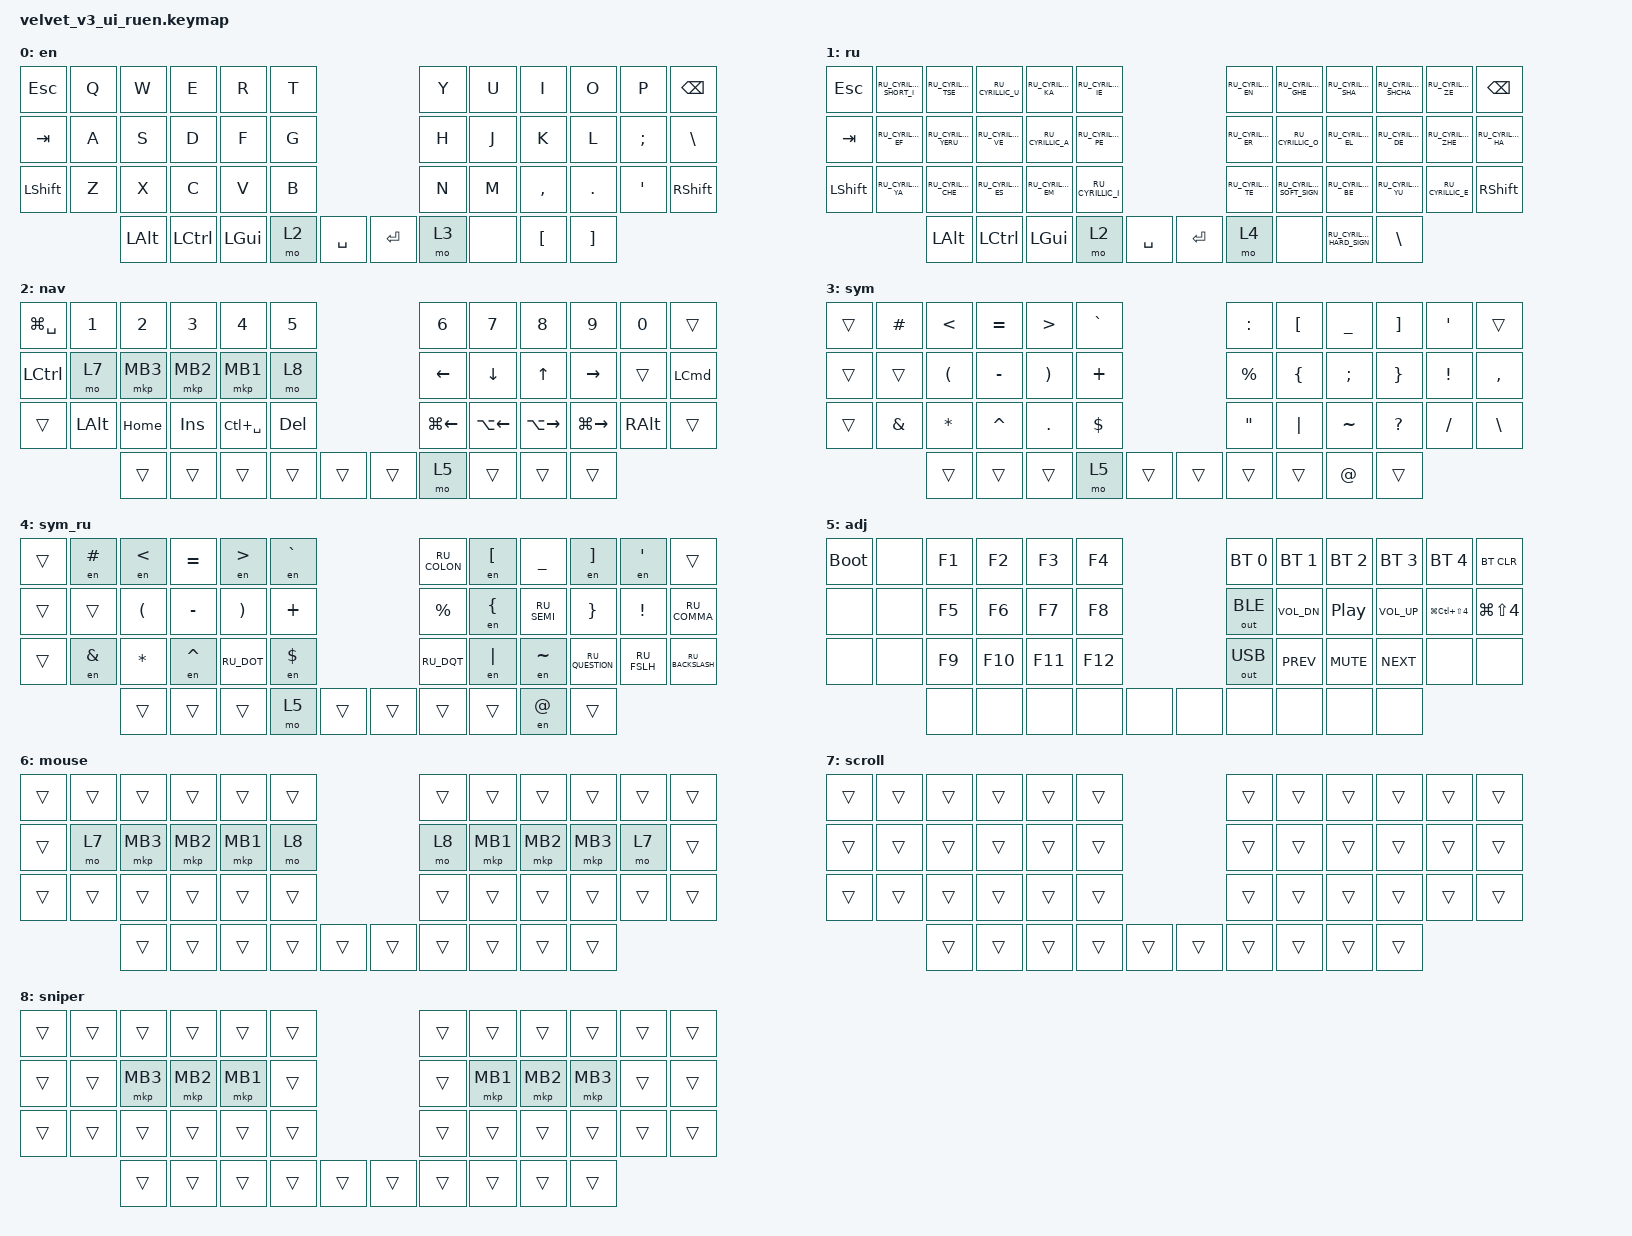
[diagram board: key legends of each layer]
#include "keys_ru.h"
#include <dt-bindings/zmk/input_transform.h>
#include <input/processors.dtsi>
#include <zephyr/dt-bindings/input/input-event-codes.h>
#include <behaviors.dtsi>
#include <dt-bindings/zmk/bt.h>
#include <dt-bindings/zmk/keys.h>
#include <dt-bindings/zmk/outputs.h>
#include <dt-bindings/zmk/pointing.h>

/ {
    combos {
        compatible = "zmk,combos";

        cmben {
            bindings = <&layer_en>;
            key-positions = <38 16>;
            layers = <1>;
        };

        cmbru {
            bindings = <&layer_ru>;
            key-positions = <16 38>;
            layers = <0>;
        };
    };

    macros {
        to_ru: to_ru {
            compatible = "zmk,behavior-macro";
            #binding-cells = <0>;
            bindings = <&kp LS(LC(N2))>;
            label = "TO_RU";
        };

        to_en: to_en {
            compatible = "zmk,behavior-macro";
            #binding-cells = <0>;
            bindings = <&kp LS(LC(N1))>;
            label = "TO_EN";
        };

        layer_en: layer_en {
            compatible = "zmk,behavior-macro";
            #binding-cells = <0>;
            bindings = <&to 0 &to_en>;
            label = "LAYER_EN";
        };

        layer_ru: layer_ru {
            compatible = "zmk,behavior-macro";
            #binding-cells = <0>;
            bindings = <&to 1 &to_ru>;
            label = "LAYER_RU";
        };

        en: en {
            compatible = "zmk,behavior-macro-one-param";
            #binding-cells = <1>;
            bindings =
                <&to_en &macro_param_1to1 &kp MACRO_PLACEHOLDER>,
                <&macro_wait_time 10>,
                <&to_ru>,
                <&macro_wait_time 10>;

            label = "EN";
        };
    };

    keymap {
        compatible = "zmk,keymap";

        en {
            bindings = <
&kp ESC    &kp Q  &kp W     &kp E      &kp R     &kp T                        &kp Y  &kp U  &kp I      &kp O     &kp P     &kp BSPC
&kp TAB    &kp A  &kp S     &kp D      &kp F     &kp G                        &kp H  &kp J  &kp K      &kp L     &kp SEMI  &kp BSLH
&kp LSHFT  &kp Z  &kp X     &kp C      &kp V     &kp B                        &kp N  &kp M  &kp COMMA  &kp DOT   &kp SQT   &kp RSHFT
                  &kp LALT  &kp LCTRL  &kp LGUI  &mo 2  &kp SPACE    &kp RET  &mo 3  &none  &kp LBKT   &kp RBKT
            >;

            display-name = "en";
        };

        ru {
            display-name = "ru";
            bindings = <
&kp ESC    &kp RU_CYRILLIC_SHORT_I  &kp RU_CYRILLIC_TSE   &kp RU_CYRILLIC_U   &kp RU_CYRILLIC_KA  &kp RU_CYRILLIC_IE                        &kp RU_CYRILLIC_EN  &kp RU_CYRILLIC_GHE        &kp RU_CYRILLIC_SHA        &kp RU_CYRILLIC_SHCHA  &kp RU_CYRILLIC_ZE   &kp BSPC
&kp TAB    &kp RU_CYRILLIC_EF       &kp RU_CYRILLIC_YERU  &kp RU_CYRILLIC_VE  &kp RU_CYRILLIC_A   &kp RU_CYRILLIC_PE                        &kp RU_CYRILLIC_ER  &kp RU_CYRILLIC_O          &kp RU_CYRILLIC_EL         &kp RU_CYRILLIC_DE     &kp RU_CYRILLIC_ZHE  &kp RU_CYRILLIC_HA
&kp LSHFT  &kp RU_CYRILLIC_YA       &kp RU_CYRILLIC_CHE   &kp RU_CYRILLIC_ES  &kp RU_CYRILLIC_EM  &kp RU_CYRILLIC_I                         &kp RU_CYRILLIC_TE  &kp RU_CYRILLIC_SOFT_SIGN  &kp RU_CYRILLIC_BE         &kp RU_CYRILLIC_YU     &kp RU_CYRILLIC_E    &kp RSHFT
                                    &kp LALT              &kp LCTRL           &kp LGUI            &mo 2               &kp SPACE    &kp RET  &mo 4               &none                      &kp RU_CYRILLIC_HARD_SIGN  &kp BSLH
            >;
        };

        nav {
            bindings = <
&kp LG(SPACE)  &kp N1        &kp N2    &kp N3    &kp N4         &kp N5                     &kp N6        &kp N7        &kp N8         &kp N9         &kp N0    &trans
&kp LCTRL      &mo 7         &mkp MB3  &mkp MB2  &mkp MB1       &mo 8                      &kp LEFT      &kp DOWN      &kp UP         &kp RIGHT      &trans    &kp LCMD
&trans         &kp LEFT_ALT  &kp HOME  &kp INS   &kp LC(SPACE)  &kp DEL                    &kp LG(LEFT)  &kp LA(LEFT)  &kp LA(RIGHT)  &kp LG(RIGHT)  &kp RALT  &trans
                             &trans    &trans    &trans         &trans   &trans    &trans  &mo 5         &trans        &trans         &trans
            >;

            display-name = "nav";
        };

        sym {
            bindings = <
&trans  &kp HASH  &kp LT    &kp EQUAL  &kp GT    &kp GRAVE                    &kp COLON  &kp LBKT  &kp UNDER  &kp RBKT      &kp SQT   &trans
&trans  &trans    &kp LPAR  &kp MINUS  &kp RPAR  &kp PLUS                     &kp PRCNT  &kp LBRC  &kp SEMI   &kp RBRC      &kp EXCL  &kp COMMA
&trans  &kp AMPS  &kp STAR  &kp CARET  &kp DOT   &kp DLLR                     &kp DQT    &kp PIPE  &kp TILDE  &kp QUESTION  &kp FSLH  &kp BSLH
                  &trans    &trans     &trans    &mo 5      &trans    &trans  &trans     &trans    &kp AT     &trans
            >;

            display-name = "sym";
        };

        sym_ru {
            display-name = "sym_ru";
            bindings = <
&trans  &en HASH  &en LT    &kp EQUAL  &en GT      &en GRAVE                    &kp RU_COLON  &en LBKT  &kp UNDER    &en RBKT         &en SQT      &trans
&trans  &trans    &kp LPAR  &kp MINUS  &kp RPAR    &kp PLUS                     &kp PRCNT     &en LBRC  &kp RU_SEMI  &kp RBRC         &kp EXCL     &kp RU_COMMA
&trans  &en AMPS  &kp STAR  &en CARET  &kp RU_DOT  &en DLLR                     &kp RU_DQT    &en PIPE  &en TILDE    &kp RU_QUESTION  &kp RU_FSLH  &kp RU_BACKSLASH
                  &trans    &trans     &trans      &mo 5      &trans    &trans  &trans        &trans    &en AT       &trans
            >;
        };

        adj {
            bindings = <
&bootloader  &none  &kp F1  &kp F2   &kp F3   &kp F4                   &bt BT_SEL 0  &bt BT_SEL 1  &bt BT_SEL 2      &bt BT_SEL 3  &bt BT_SEL 4              &bt BT_CLR
&none        &none  &kp F5  &kp F6   &kp F7   &kp F8                   &out OUT_BLE  &kp C_VOL_DN  &kp C_PLAY_PAUSE  &kp C_VOL_UP  &kp LG(LC(LS(NUMBER_4)))  &kp LG(LS(NUMBER_4))
&none        &none  &kp F9  &kp F10  &kp F11  &kp F12                  &out OUT_USB  &kp K_PREV    &kp K_MUTE        &kp K_NEXT    &none                     &none
                    &none   &none    &none    &none    &none    &none  &none         &none         &none             &none
            >;

            display-name = "adj";
        };

        mouse {
            bindings = <
&trans  &trans  &trans    &trans    &trans    &trans                    &trans  &trans    &trans    &trans    &trans  &trans
&trans  &mo 7   &mkp MB3  &mkp MB2  &mkp MB1  &mo 8                     &mo 8   &mkp MB1  &mkp MB2  &mkp MB3  &mo 7   &trans
&trans  &trans  &trans    &trans    &trans    &trans                    &trans  &trans    &trans    &trans    &trans  &trans
                &trans    &trans    &trans    &trans  &trans    &trans  &trans  &trans    &trans    &trans
            >;
        };

        scroll {
            bindings = <
&trans  &trans  &trans  &trans  &trans  &trans                    &trans  &trans  &trans  &trans  &trans  &trans
&trans  &trans  &trans  &trans  &trans  &trans                    &trans  &trans  &trans  &trans  &trans  &trans
&trans  &trans  &trans  &trans  &trans  &trans                    &trans  &trans  &trans  &trans  &trans  &trans
                &trans  &trans  &trans  &trans  &trans    &trans  &trans  &trans  &trans  &trans
            >;
        };

        sniper {
            bindings = <
&trans  &trans  &trans    &trans    &trans    &trans                    &trans  &trans    &trans    &trans    &trans  &trans
&trans  &trans  &mkp MB3  &mkp MB2  &mkp MB1  &trans                    &trans  &mkp MB1  &mkp MB2  &mkp MB3  &trans  &trans
&trans  &trans  &trans    &trans    &trans    &trans                    &trans  &trans    &trans    &trans    &trans  &trans
                &trans    &trans    &trans    &trans  &trans    &trans  &trans  &trans    &trans    &trans
            >;
        };
    };
};

&trackball_listener {
    input-processors = <&zip_xy_scaler 12 20>;

    scroller {
        layers = <7>;
        input-processors =
            <&zip_xy_transform INPUT_TRANSFORM_Y_INVERT>,
            <&zip_xy_scaler 1 32>,
            <&zip_xy_to_scroll_mapper>;
    };

    sniper {
        layers = <8>;
        input-processors = <&zip_xy_scaler 1 4>;
    };
};
